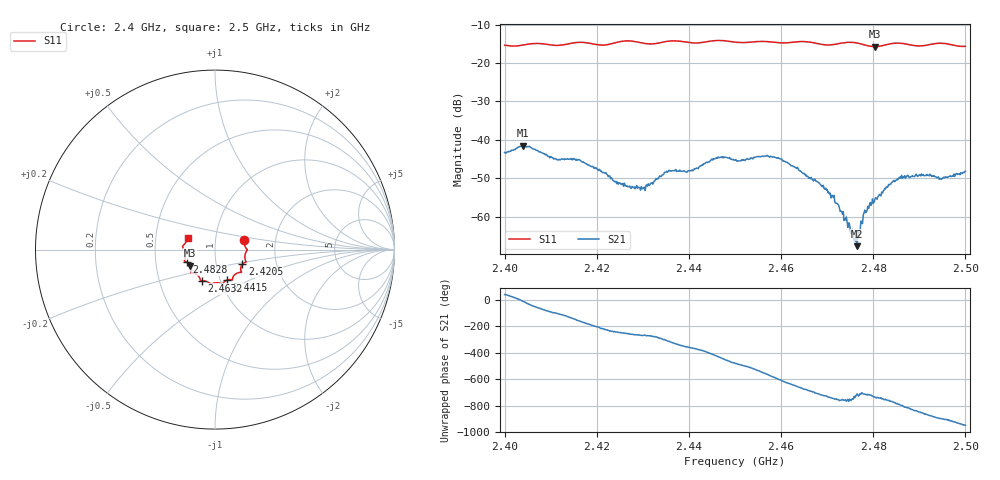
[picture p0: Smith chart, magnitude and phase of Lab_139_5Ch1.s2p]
# Hz S RI R 50
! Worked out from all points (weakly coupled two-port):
!   601 points, 2.4 GHz to 2.5 GHz, reference 50 ohm
!   highest |S21| = -41.56 dB at 2.404 GHz (marker M1); lowest = -67.7 dB at 2.4765 GHz (marker M2)
!   lowest |S11| = -15.7 dB at 2.4803 GHz (marker M3), VSWR 1.39, Z = 37.4 - j6.83 ohm
!   |S11| at or under -10 dB: start of sweep to end of sweep
!   S12 and S22 are empty: the file has one direction only
!   S11 on the Smith chart (normalised r, x): 2.4 GHz: 1.38, +0.15; 2.4205 GHz: 1.34, -0.23; 2.4415 GHz: 1.07, -0.38; 2.4632 GHz: 0.82, -0.29; 2.4828 GHz: 0.72, -0.10; 2.5 GHz: 0.73, +0.10
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2.4e9  0.1632 0.0516  0.00527 0.00438  0 0  0 0
2.404e9  0.1715 0.0103  0.00819 -0.00165  0 0  0 0
2.416667e9  0.1731 -0.0696  -0.00508 -0.00125  0 0  0 0
2.4205e9  0.1517 -0.0817  -0.00364 0.00197  0 0  0 0
2.427833e9  0.145 -0.1268  -0.000339 0.0024  0 0  0 0
2.433333e9  0.1006 -0.1517  0.000945 0.00296  0 0  0 0
2.4415e9  0.0655 -0.1705  0.00416 -0.000779  0 0  0 0
2.4465e9  0.041 -0.1928  0.00174 -0.00558  0 0  0 0
2.45e9  0.0243 -0.186  -0.00262 -0.00476  0 0  0 0
2.457333e9  -0.0274 -0.1878  -0.00519 0.00303  0 0  0 0
2.463167e9  -0.073 -0.1738  0.00161 0.00405  0 0  0 0
2.466667e9  -0.0818 -0.1672  0.00275 0.00137  0 0  0 0
2.471e9  -0.109 -0.1348  0.00175 -0.000698  0 0  0 0
2.475667e9  -0.1337 -0.1292  0.000468 -0.000289  0 0  0 0
2.4765e9  -0.1324 -0.1256  0.000407 6.13e-05  0 0  0 0
2.478333e9  -0.1303 -0.1108  0.00112 6.42e-05  0 0  0 0
2.480333e9  -0.1378 -0.0889  0.00159 -0.000475  0 0  0 0
2.482833e9  -0.1587 -0.0703  0.00191 -0.00151  0 0  0 0
2.483333e9  -0.1625 -0.0685  0.00196 -0.00174  0 0  0 0
2.486333e9  -0.1701 -0.0598  0.000595 -0.00309  0 0  0 0
2.494833e9  -0.1804 0.0183  -0.00305 -6.59e-05  0 0  0 0
2.5e9  -0.1525 0.0644  -0.00249 0.00302  0 0  0 0
